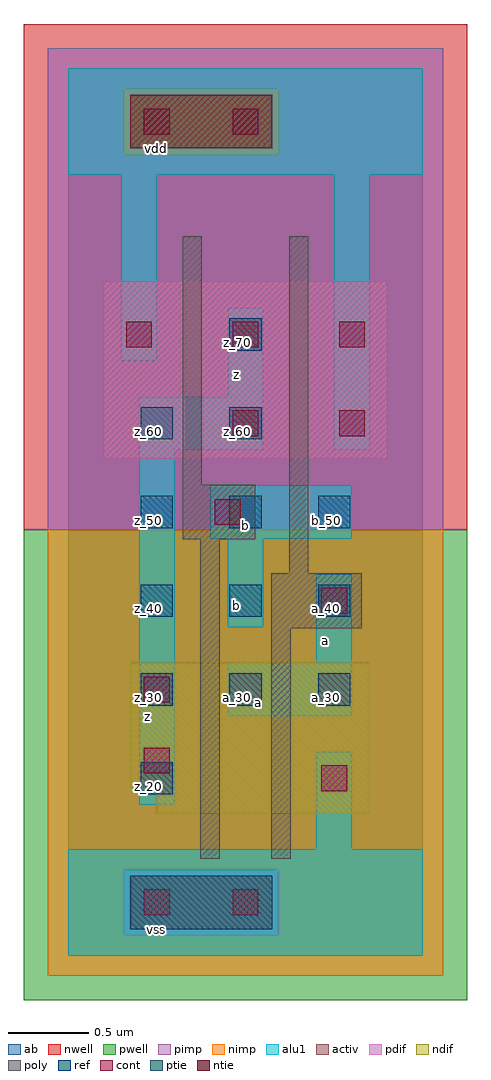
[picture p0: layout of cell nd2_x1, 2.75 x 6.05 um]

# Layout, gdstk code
import gdstk
lib = gdstk.Library(unit=1e-6, precision=2.5e-09)
def R(c, l, rs):  # rectangles x0, y0, x1, y1
    for r in rs: c.add(gdstk.rectangle(r[:2], r[2:], *l))
def A(c, l, x, y, w, h, nx, ny, dx, dy):  # array of equal rectangles
    R(c, l, [(x+i*dx, y+j*dy, x+i*dx+w, y+j*dy+h) for i in range(nx) for j in range(ny)])
ndif = (3, 0)
pdif = (4, 0)
ntie = (5, 0)
ptie = (6, 0)
ref = (24, 0)
cont = (25, 0)
pwell = (41, 0)
nwell = (42, 0)
activ = (43, 0)
pimp = (44, 0)
nimp = (45, 0)
poly = (46, 0)
alu1 = (49, 0)
ab = (63, 0)

nd2_x1 = lib.new_cell('nd2_x1')
R(nd2_x1, ndif, [(0.55,0.88,1.87,1.045), (0.385,1.045,1.87,1.815)])
R(nd2_x1, pdif, [(0.22,3.08,1.98,4.18)])
R(nd2_x1, ntie, [(0.385,5.005,1.265,5.335)])
R(nd2_x1, ptie, [(0.385,0.165,1.265,0.495)])
A(nd2_x1, ref, 0.45, 1.55, 0.2, 0.2, 3, 3, 0.55, 0.55)
R(nd2_x1, ref, [(0.45,1,0.65,1.2), (0.45,3.2,0.65,3.4), (1,3.2,1.2,3.4), (1,3.75,1.2,3.95)])
A(nd2_x1, cont, 0.36, 3.77, 0.16, 0.16, 3, 1, 0.66, 0)
R(nd2_x1, cont, [(0.47,0.25,0.63,0.41), (1.02,0.25,1.18,0.41), (1.57,1.02,1.73,1.18), (0.47,1.13,0.63,1.29), (0.47,1.57,0.63,1.73), (1.57,2.12,1.73,2.28), (0.91,2.67,1.07,2.83), (1.02,3.22,1.18,3.38), (1.68,3.22,1.84,3.38), (0.47,5.09,0.63,5.25), (1.02,5.09,1.18,5.25)])
R(nd2_x1, pwell, [(-0.275,-0.275,2.475,2.64)])
R(nd2_x1, nwell, [(-0.275,2.64,2.475,5.775)])
R(nd2_x1, activ, [(0.385,0.165,1.265,0.495), (0.55,0.88,1.87,1.045), (0.385,1.045,1.87,1.815), (0.22,3.08,1.98,4.18), (0.385,5.005,1.265,5.335)])
R(nd2_x1, pimp, [(0.345,0.125,1.305,0.535), (-0.125,2.64,2.325,4.965), (-0.125,4.965,0.345,5.375), (1.305,4.965,2.325,5.375), (-0.125,5.375,2.325,5.625)])
R(nd2_x1, nimp, [(-0.125,-0.125,2.325,0.125), (-0.125,0.125,0.345,0.535), (1.305,0.125,2.325,0.535), (-0.125,0.535,2.325,2.64), (0.345,4.965,1.305,5.375)])
R(nd2_x1, poly, [(0.82,0.6,0.94,2.58), (1.26,0.6,1.38,2.03), (1.26,2.03,1.82,2.37), (1.37,2.37,1.49,4.46), (0.71,2.58,1.16,2.92), (0.71,2.92,0.83,4.46)])
R(nd2_x1, alu1, [(0,0,2.2,0.66), (1.54,0.66,1.76,1.265), (0.44,0.935,0.66,3.135), (0.99,1.485,1.76,1.815), (1.54,1.815,1.76,2.365), (0.99,2.035,1.21,2.585), (0.88,2.585,1.76,2.915), (0.44,3.135,1.21,3.465), (1.65,3.135,1.87,4.84), (0.99,3.465,1.21,4.015), (0.33,3.685,0.55,4.84), (0,4.84,2.2,5.5)])
R(nd2_x1, ab, [(0,0,2.2,5.5)])
nd2_x1.add(gdstk.Label('vss', (0.55,0.165), layer=49, texttype=0))
nd2_x1.add(gdstk.Label('a', (1.1825,1.5675), layer=49, texttype=0))
nd2_x1.add(gdstk.Label('a', (1.595,1.9525), layer=49, texttype=0))
nd2_x1.add(gdstk.Label('b', (1.045,2.1725), layer=49, texttype=0))
nd2_x1.add(gdstk.Label('b', (1.1,2.6675), layer=49, texttype=0))
nd2_x1.add(gdstk.Label('z', (0.495,1.485), layer=49, texttype=0))
nd2_x1.add(gdstk.Label('z', (1.045,3.6025), layer=49, texttype=0))
nd2_x1.add(gdstk.Label('vdd', (0.55,5.005), layer=49, texttype=0))
nd2_x1.add(gdstk.Label('z_20', (0.5,1.05), layer=24, texttype=0))
nd2_x1.add(gdstk.Label('a_30', (1.05,1.6), layer=24, texttype=0))
nd2_x1.add(gdstk.Label('a_30', (1.6,1.6), layer=24, texttype=0))
nd2_x1.add(gdstk.Label('b_50', (1.6,2.7), layer=24, texttype=0))
nd2_x1.add(gdstk.Label('b_50', (1.05,2.7), layer=24, texttype=0))
nd2_x1.add(gdstk.Label('z_60', (1.05,3.25), layer=24, texttype=0))
nd2_x1.add(gdstk.Label('z_70', (1.05,3.8), layer=24, texttype=0))
nd2_x1.add(gdstk.Label('a_40', (1.6,2.15), layer=24, texttype=0))
nd2_x1.add(gdstk.Label('z_60', (0.5,3.25), layer=24, texttype=0))
nd2_x1.add(gdstk.Label('z_50', (0.5,2.7), layer=24, texttype=0))
nd2_x1.add(gdstk.Label('z_40', (0.5,2.15), layer=24, texttype=0))
nd2_x1.add(gdstk.Label('z_30', (0.5,1.6), layer=24, texttype=0))
nd2_x1.add(gdstk.Label('b_40', (1.05,2.15), layer=24, texttype=0))

lib.write_gds('nd2_x1.gds')
